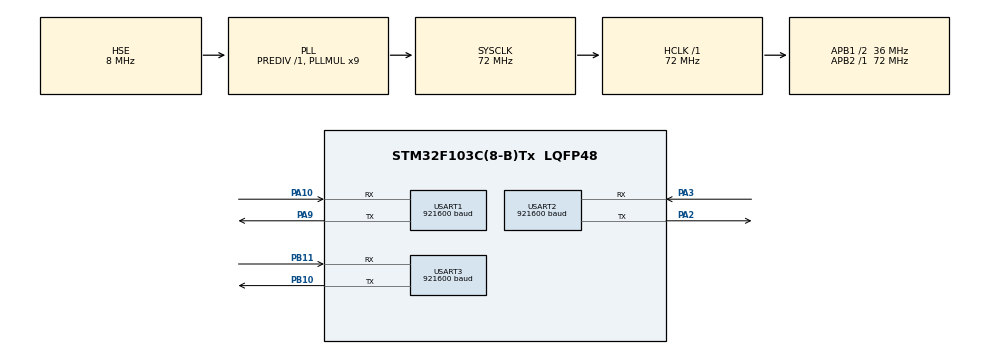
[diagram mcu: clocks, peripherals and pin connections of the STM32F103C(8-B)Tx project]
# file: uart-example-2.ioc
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Dma.Request0=USART1_RX
Dma.Request1=USART1_TX
Dma.Request2=USART2_RX
Dma.Request3=USART2_TX
Dma.Request4=USART3_RX
Dma.Request5=USART3_TX
Dma.USART1_RX.0.Direction=DMA_PERIPH_TO_MEMORY
Dma.USART1_RX.0.Instance=DMA1_Channel5
Dma.USART1_RX.0.MemDataAlignment=DMA_MDATAALIGN_BYTE
Dma.USART1_RX.0.MemInc=DMA_MINC_ENABLE
Dma.USART1_RX.0.Mode=DMA_CIRCULAR
Dma.USART1_RX.0.PeriphDataAlignment=DMA_PDATAALIGN_BYTE
Dma.USART1_RX.0.PeriphInc=DMA_PINC_DISABLE
Dma.USART1_RX.0.Priority=DMA_PRIORITY_LOW
Dma.USART1_TX.1.Direction=DMA_MEMORY_TO_PERIPH
Dma.USART1_TX.1.Instance=DMA1_Channel4
Dma.USART1_TX.1.MemDataAlignment=DMA_MDATAALIGN_BYTE
Dma.USART1_TX.1.MemInc=DMA_MINC_ENABLE
Dma.USART1_TX.1.Mode=DMA_NORMAL
Dma.USART1_TX.1.PeriphDataAlignment=DMA_PDATAALIGN_BYTE
Dma.USART1_TX.1.PeriphInc=DMA_PINC_DISABLE
Dma.USART1_TX.1.Priority=DMA_PRIORITY_LOW
Dma.USART2_RX.2.Direction=DMA_PERIPH_TO_MEMORY
Dma.USART2_RX.2.Instance=DMA1_Channel6
Dma.USART2_RX.2.MemDataAlignment=DMA_MDATAALIGN_BYTE
Dma.USART2_RX.2.MemInc=DMA_MINC_ENABLE
Dma.USART2_RX.2.Mode=DMA_CIRCULAR
Dma.USART2_RX.2.PeriphDataAlignment=DMA_PDATAALIGN_BYTE
Dma.USART2_RX.2.PeriphInc=DMA_PINC_DISABLE
Dma.USART2_RX.2.Priority=DMA_PRIORITY_LOW
Dma.USART2_TX.3.Direction=DMA_MEMORY_TO_PERIPH
Dma.USART2_TX.3.Instance=DMA1_Channel7
Dma.USART2_TX.3.MemDataAlignment=DMA_MDATAALIGN_BYTE
Dma.USART2_TX.3.MemInc=DMA_MINC_ENABLE
Dma.USART2_TX.3.Mode=DMA_NORMAL
Dma.USART2_TX.3.PeriphDataAlignment=DMA_PDATAALIGN_BYTE
Dma.USART2_TX.3.PeriphInc=DMA_PINC_DISABLE
Dma.USART2_TX.3.Priority=DMA_PRIORITY_LOW
Dma.USART3_RX.4.Direction=DMA_PERIPH_TO_MEMORY
Dma.USART3_RX.4.Instance=DMA1_Channel3
Dma.USART3_RX.4.MemDataAlignment=DMA_MDATAALIGN_BYTE
Dma.USART3_RX.4.MemInc=DMA_MINC_ENABLE
Dma.USART3_RX.4.Mode=DMA_CIRCULAR
Dma.USART3_RX.4.PeriphDataAlignment=DMA_PDATAALIGN_BYTE
Dma.USART3_RX.4.PeriphInc=DMA_PINC_DISABLE
Dma.USART3_RX.4.Priority=DMA_PRIORITY_LOW
Dma.USART3_TX.5.Direction=DMA_MEMORY_TO_PERIPH
Dma.USART3_TX.5.Instance=DMA1_Channel2
Dma.USART3_TX.5.MemDataAlignment=DMA_MDATAALIGN_BYTE
Dma.USART3_TX.5.MemInc=DMA_MINC_ENABLE
Dma.USART3_TX.5.Mode=DMA_NORMAL
Dma.USART3_TX.5.PeriphDataAlignment=DMA_PDATAALIGN_BYTE
Dma.USART3_TX.5.PeriphInc=DMA_PINC_DISABLE
Dma.USART3_TX.5.Priority=DMA_PRIORITY_LOW
Mcu.Family=STM32F1
Mcu.Name=STM32F103C(8-B)Tx
Mcu.Package=LQFP48
NVIC.DMA1_Channel2_IRQn=true\:0\:0\:false\:false\:true\:false\:true\:true
NVIC.DMA1_Channel3_IRQn=true\:0\:0\:false\:false\:true\:false\:true\:true
NVIC.DMA1_Channel4_IRQn=true\:0\:0\:false\:false\:true\:false\:true\:true
NVIC.DMA1_Channel5_IRQn=true\:0\:0\:false\:false\:true\:false\:true\:true
NVIC.DMA1_Channel6_IRQn=true\:0\:0\:false\:false\:true\:false\:true\:true
NVIC.DMA1_Channel7_IRQn=true\:0\:0\:false\:false\:true\:false\:true\:true
NVIC.PriorityGroup=NVIC_PRIORITYGROUP_4
NVIC.USART1_IRQn=true\:0\:0\:false\:false\:true\:true\:true\:true
NVIC.USART2_IRQn=true\:0\:0\:false\:false\:true\:true\:true\:true
NVIC.USART3_IRQn=true\:0\:0\:false\:false\:true\:true\:true\:true
PA10.Mode=Asynchronous
PA10.Signal=USART1_RX
PA13.Mode=Serial_Wire
PA13.Signal=SYS_JTMS-SWDIO
PA14.Mode=Serial_Wire
PA14.Signal=SYS_JTCK-SWCLK
PA2.Mode=Asynchronous
PA2.Signal=USART2_TX
PA3.Mode=Asynchronous
PA3.Signal=USART2_RX
PA9.Mode=Asynchronous
PA9.Signal=USART1_TX
PB10.Mode=Asynchronous
PB10.Signal=USART3_TX
PB11.Mode=Asynchronous
PB11.Signal=USART3_RX
PD0-OSC_IN.Mode=HSE-External-Oscillator
PD0-OSC_IN.Signal=RCC_OSC_IN
PD1-OSC_OUT.Mode=HSE-External-Oscillator
PD1-OSC_OUT.Signal=RCC_OSC_OUT
ProjectManager.HeapSize=0x200
ProjectManager.StackSize=0x400
ProjectManager.TargetToolchain=STM32CubeIDE
RCC.AHBFreq_Value=72000000
RCC.APB1CLKDivider=RCC_HCLK_DIV2
RCC.APB1Freq_Value=36000000
RCC.APB1TimFreq_Value=72000000
RCC.APB2Freq_Value=72000000
RCC.APB2TimFreq_Value=72000000
RCC.HCLKFreq_Value=72000000
RCC.PLLMUL=RCC_PLL_MUL9
RCC.PLLSourceVirtual=RCC_PLLSOURCE_HSE
RCC.SYSCLKFreq_VALUE=72000000
RCC.SYSCLKSource=RCC_SYSCLKSOURCE_PLLCLK
RCC.USBFreq_Value=72000000
USART1.BaudRate=921600
USART1.VirtualMode=VM_ASYNC
USART2.BaudRate=921600
USART2.VirtualMode=VM_ASYNC
USART3.BaudRate=921600
USART3.VirtualMode=VM_ASYNC
board=custom

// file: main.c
/* USER CODE BEGIN Header */
/**
 ******************************************************************************
 * @file           : main.c
 * @brief          : Main program body
 ******************************************************************************
 * @attention
 *
 * Copyright (c) 2023 STMicroelectronics.
 * All rights reserved.
 *
 * This software is licensed under terms that can be found in the LICENSE file
 * in the root directory of this software component.
 * If no LICENSE file comes with this software, it is provided AS-IS.
 *
 ******************************************************************************
 */
/* USER CODE END Header */
#include "main.h"

/* USER CODE BEGIN Includes */
#include "uart.h"
#include "math.h" // for round
/* USER CODE END Includes */

UART_HandleTypeDef huart1;
UART_HandleTypeDef huart2;
UART_HandleTypeDef huart3;
DMA_HandleTypeDef hdma_usart1_rx;
DMA_HandleTypeDef hdma_usart1_tx;
DMA_HandleTypeDef hdma_usart2_rx;
DMA_HandleTypeDef hdma_usart2_tx;
DMA_HandleTypeDef hdma_usart3_rx;
DMA_HandleTypeDef hdma_usart3_tx;

/* USER CODE BEGIN PV */

#define UART_BUFFER_SIZE 128
#define TEMP_BUFFER_SIZE 100
__IO uint8_t uartBuffer[3][UART_BUFFER_SIZE];
__IO uint8_t tempBuffer[3][TEMP_BUFFER_SIZE];

/* USER CODE END PV */

void SystemClock_Config(void);
static void MX_GPIO_Init(void);
static void MX_DMA_Init(void);
static void MX_USART1_UART_Init(void);
static void MX_USART2_UART_Init(void);
static void MX_USART3_UART_Init(void);

int main(void)
{

	/* MCU Configuration--------------------------------------------------------*/

	/* Reset of all peripherals, Initializes the Flash interface and the Systick. */
	HAL_Init();

	/* Configure the system clock */
	SystemClock_Config();

	/* Initialize all configured peripherals */
	MX_GPIO_Init();
	MX_DMA_Init();
	MX_USART1_UART_Init();
	MX_USART2_UART_Init();
	MX_USART3_UART_Init();
	/* USER CODE BEGIN 2 */

	COM_Init(0, &huart1, (uint8_t *) &uartBuffer[0], UART_BUFFER_SIZE, 100);
	COM_Init(1, &huart2, (uint8_t *) &uartBuffer[1], UART_BUFFER_SIZE, 100);
	COM_Init(2, &huart3, (uint8_t *) &uartBuffer[2], UART_BUFFER_SIZE, 100);

	float floatTemp[3]={-60.3,18.0, 121.5 }; // -60.3, 18, 121.5 Deg C

	/* USER CODE END 2 */

	/* Infinite loop */
	/* USER CODE BEGIN WHILE */
	while (1)
	{

		uint8_t header;
		uint8_t length;

		for (int portNum=0;portNum<3;portNum++)
		{

			COM_Select(portNum);

			if (COM_ReadFast((uint8_t *)&header,1)) switch(header)
			{
			case 0x01:
			{
				uint8_t answer=0x55;
				COM_Write((uint8_t *)&answer,1);
				break; // command 0x01
			}

			case 0x02:
			{

				int32_t intTemp=round(floatTemp[portNum]*1000);
				COM_Write((uint8_t *)&intTemp,4);
				break; // command 0x02
			}

			case 0x03:
			{
				COM_Read((uint8_t *)&length,1);
				COM_Read((uint8_t *)&tempBuffer[portNum],length); // should check length here
				COM_Write((uint8_t *)&tempBuffer[portNum],length);
				break; // command 0x03
			}

			}
		}

		/* USER CODE END WHILE */

	}
}

void SystemClock_Config(void)
{
	RCC_OscInitTypeDef RCC_OscInitStruct = {0};
	RCC_ClkInitTypeDef RCC_ClkInitStruct = {0};

	/** Initializes the RCC Oscillators according to the specified parameters
	 * in the RCC_OscInitTypeDef structure.
	 */
	RCC_OscInitStruct.OscillatorType = RCC_OSCILLATORTYPE_HSE;
	RCC_OscInitStruct.HSEState = RCC_HSE_ON;
	RCC_OscInitStruct.HSEPredivValue = RCC_HSE_PREDIV_DIV1;
	RCC_OscInitStruct.HSIState = RCC_HSI_ON;
	RCC_OscInitStruct.PLL.PLLState = RCC_PLL_ON;
	RCC_OscInitStruct.PLL.PLLSource = RCC_PLLSOURCE_HSE;
	RCC_OscInitStruct.PLL.PLLMUL = RCC_PLL_MUL9;
	if (HAL_RCC_OscConfig(&RCC_OscInitStruct) != HAL_OK)
	{
		Error_Handler();
	}

	/** Initializes the CPU, AHB and APB buses clocks
	 */
	RCC_ClkInitStruct.ClockType = RCC_CLOCKTYPE_HCLK|RCC_CLOCKTYPE_SYSCLK
			|RCC_CLOCKTYPE_PCLK1|RCC_CLOCKTYPE_PCLK2;
	RCC_ClkInitStruct.SYSCLKSource = RCC_SYSCLKSOURCE_PLLCLK;
	RCC_ClkInitStruct.AHBCLKDivider = RCC_SYSCLK_DIV1;
	RCC_ClkInitStruct.APB1CLKDivider = RCC_HCLK_DIV2;
	RCC_ClkInitStruct.APB2CLKDivider = RCC_HCLK_DIV1;

	if (HAL_RCC_ClockConfig(&RCC_ClkInitStruct, FLASH_LATENCY_2) != HAL_OK)
	{
		Error_Handler();
	}
}

static void MX_USART1_UART_Init(void)
{

	huart1.Instance = USART1;
	huart1.Init.BaudRate = 921600;
	huart1.Init.WordLength = UART_WORDLENGTH_8B;
	huart1.Init.StopBits = UART_STOPBITS_1;
	huart1.Init.Parity = UART_PARITY_NONE;
	huart1.Init.Mode = UART_MODE_TX_RX;
	huart1.Init.HwFlowCtl = UART_HWCONTROL_NONE;
	huart1.Init.OverSampling = UART_OVERSAMPLING_16;
	if (HAL_UART_Init(&huart1) != HAL_OK)
	{
		Error_Handler();
	}

}

static void MX_USART2_UART_Init(void)
{

	huart2.Instance = USART2;
	huart2.Init.BaudRate = 921600;
	huart2.Init.WordLength = UART_WORDLENGTH_8B;
	huart2.Init.StopBits = UART_STOPBITS_1;
	huart2.Init.Parity = UART_PARITY_NONE;
	huart2.Init.Mode = UART_MODE_TX_RX;
	huart2.Init.HwFlowCtl = UART_HWCONTROL_NONE;
	huart2.Init.OverSampling = UART_OVERSAMPLING_16;
	if (HAL_UART_Init(&huart2) != HAL_OK)
	{
		Error_Handler();
	}

}

static void MX_USART3_UART_Init(void)
{

	huart3.Instance = USART3;
	huart3.Init.BaudRate = 921600;
	huart3.Init.WordLength = UART_WORDLENGTH_8B;
	huart3.Init.StopBits = UART_STOPBITS_1;
	huart3.Init.Parity = UART_PARITY_NONE;
	huart3.Init.Mode = UART_MODE_TX_RX;
	huart3.Init.HwFlowCtl = UART_HWCONTROL_NONE;
	huart3.Init.OverSampling = UART_OVERSAMPLING_16;
	if (HAL_UART_Init(&huart3) != HAL_OK)
	{
		Error_Handler();
	}

}

static void MX_DMA_Init(void)
{

	/* DMA controller clock enable */
	__HAL_RCC_DMA1_CLK_ENABLE();

	/* DMA interrupt init */
	/* DMA1_Channel2_IRQn interrupt configuration */
	HAL_NVIC_SetPriority(DMA1_Channel2_IRQn, 0, 0);
	HAL_NVIC_EnableIRQ(DMA1_Channel2_IRQn);
	/* DMA1_Channel3_IRQn interrupt configuration */
	HAL_NVIC_SetPriority(DMA1_Channel3_IRQn, 0, 0);
	HAL_NVIC_EnableIRQ(DMA1_Channel3_IRQn);
	/* DMA1_Channel4_IRQn interrupt configuration */
	HAL_NVIC_SetPriority(DMA1_Channel4_IRQn, 0, 0);
	HAL_NVIC_EnableIRQ(DMA1_Channel4_IRQn);
	/* DMA1_Channel5_IRQn interrupt configuration */
	HAL_NVIC_SetPriority(DMA1_Channel5_IRQn, 0, 0);
	HAL_NVIC_EnableIRQ(DMA1_Channel5_IRQn);
	/* DMA1_Channel6_IRQn interrupt configuration */
	HAL_NVIC_SetPriority(DMA1_Channel6_IRQn, 0, 0);
	HAL_NVIC_EnableIRQ(DMA1_Channel6_IRQn);
	/* DMA1_Channel7_IRQn interrupt configuration */
	HAL_NVIC_SetPriority(DMA1_Channel7_IRQn, 0, 0);
	HAL_NVIC_EnableIRQ(DMA1_Channel7_IRQn);

}

static void MX_GPIO_Init(void)
{

	/* GPIO Ports Clock Enable */
	__HAL_RCC_GPIOD_CLK_ENABLE();
	__HAL_RCC_GPIOA_CLK_ENABLE();
	__HAL_RCC_GPIOB_CLK_ENABLE();

}

void Error_Handler(void)
{
	__disable_irq();
	while (1)
	{
	}
}
